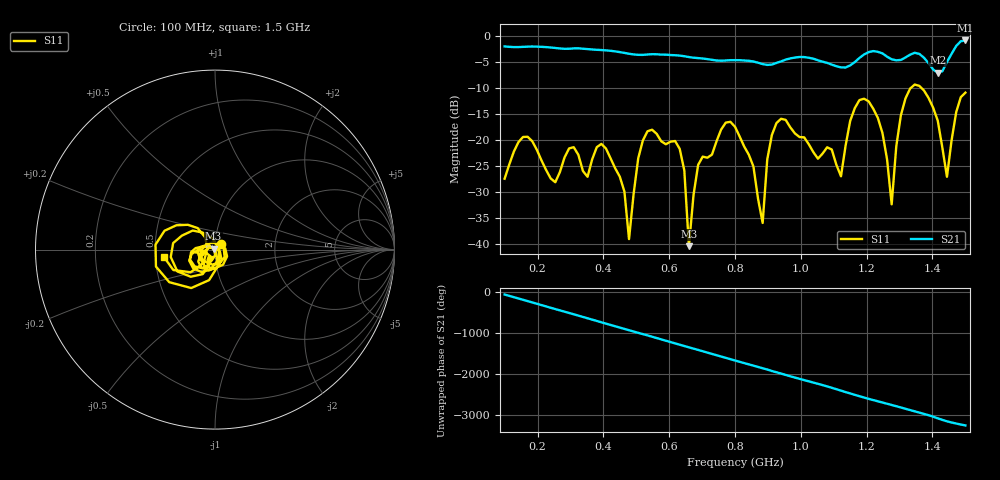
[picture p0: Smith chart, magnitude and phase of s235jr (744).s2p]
! NanoVNA-App
! Date: 2025-09-25 15:09:57
! Start: 100MHz Stop: 1,5GHz Points: 101
! S-Parameter data: F S11 S21 S12 S22
# Hz S RI R 50
!  Frequency  S11_Real  S11_Imag  S21_Real  S21_Imag  S12_Real  S12_Imag  S22_Real  S22_Imag
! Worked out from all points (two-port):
!   101 points, 100 MHz to 1.5 GHz, reference 50 ohm
!   highest |S21| = -0.81 dB at 1.5 GHz (marker M1); lowest = -7.0 dB at 1.416 GHz (marker M2)
!   |S21| within 3 dB of the highest: start of sweep to 641.4 MHz; 1.186 GHz to 1.259 GHz (73.37 MHz wide, 6 % of centre) (the widest 2 of 4)
!   lowest |S11| = -40.5 dB at 660 MHz (marker M3), VSWR 1.02, Z = 49.2 + j0.533 ohm
!   |S11| at or under -10 dB: start of sweep to 1.334 GHz; 1.367 GHz to end of sweep
!   S12 and S22 are empty: the file has one direction only
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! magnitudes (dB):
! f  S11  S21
! 100 MHz  -27.5  -2.0
! 156 MHz  -19.4  -2.0
! 338 MHz  -26.0  -2.4
! 408 MHz  -21.7  -2.7
! 478 MHz  -39.1  -3.4
! 520 MHz  -20.1  -3.6
! 576 MHz  -20.3  -3.5
! 632 MHz  -21.7  -3.7
! 660 MHz  -40.5  -4.0
! 688 MHz  -24.8  -4.2
! 800 MHz  -17.4  -4.6
! 884 MHz  -36.0  -5.4
! 926 MHz  -16.7  -5.1
! 1.038 GHz  -22.3  -4.3
! 1.122 GHz  -27.0  -6.0
! 1.206 GHz  -12.5  -3.1
! 1.276 GHz  -32.4  -4.4
! 1.304 GHz  -15.2  -4.6
! 1.332 GHz  -10.1  -3.5
! 1.416 GHz  -16.3  -7.0
! 1.444 GHz  -27.1  -4.9
! 1.5 GHz  -10.9  -0.8
